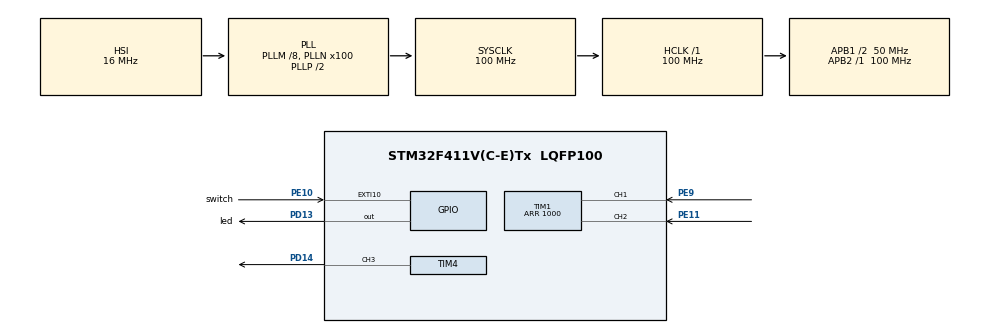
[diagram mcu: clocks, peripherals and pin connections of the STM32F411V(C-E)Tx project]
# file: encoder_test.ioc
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Dma.Request0=TIM4_CH3
Dma.TIM4_CH3.0.Direction=DMA_MEMORY_TO_PERIPH
Dma.TIM4_CH3.0.FIFOMode=DMA_FIFOMODE_DISABLE
Dma.TIM4_CH3.0.Instance=DMA1_Stream7
Dma.TIM4_CH3.0.MemDataAlignment=DMA_MDATAALIGN_HALFWORD
Dma.TIM4_CH3.0.MemInc=DMA_MINC_ENABLE
Dma.TIM4_CH3.0.Mode=DMA_CIRCULAR
Dma.TIM4_CH3.0.PeriphDataAlignment=DMA_PDATAALIGN_HALFWORD
Dma.TIM4_CH3.0.PeriphInc=DMA_PINC_DISABLE
Dma.TIM4_CH3.0.Priority=DMA_PRIORITY_LOW
Mcu.Family=STM32F4
Mcu.Name=STM32F411V(C-E)Tx
Mcu.Package=LQFP100
NVIC.DMA1_Stream7_IRQn=true\:0\:0\:false\:false\:true
NVIC.EXTI15_10_IRQn=true\:0\:0\:false\:false\:true
NVIC.PriorityGroup=NVIC_PRIORITYGROUP_4
PD13.GPIO_Label=led
PD13.Signal=GPIO_Output
PD14.Signal=S_TIM4_CH3
PE10.GPIO_Label=switch
PE10.GPIO_ModeDefaultEXTI=GPIO_MODE_IT_FALLING
PE10.GPIO_PuPd=GPIO_PULLUP
PE10.Signal=GPXTI10
PE11.Signal=S_TIM1_CH2
PE9.Signal=S_TIM1_CH1
PH0\ -\ OSC_IN.Mode=HSE-External-Oscillator
PH0\ -\ OSC_IN.Signal=RCC_OSC_IN
PH1\ -\ OSC_OUT.Mode=HSE-External-Oscillator
PH1\ -\ OSC_OUT.Signal=RCC_OSC_OUT
ProjectManager.HeapSize=0x200
ProjectManager.StackSize=0x400
ProjectManager.TargetToolchain=SW4STM32
RCC.48MHZClocksFreq_Value=50000000
RCC.AHBFreq_Value=100000000
RCC.APB1CLKDivider=RCC_HCLK_DIV2
RCC.APB1Freq_Value=50000000
RCC.APB1TimFreq_Value=100000000
RCC.APB2Freq_Value=100000000
RCC.APB2TimFreq_Value=100000000
RCC.CortexFreq_Value=100000000
RCC.HCLKFreq_Value=100000000
RCC.HSE_VALUE=8000000
RCC.HSI_VALUE=16000000
RCC.LSE_VALUE=32768
RCC.PLLM=8
RCC.PLLN=100
RCC.SYSCLKFreq_VALUE=100000000
RCC.SYSCLKSource=RCC_SYSCLKSOURCE_PLLCLK
RCC.VCOOutputFreq_Value=200000000
SH.S_TIM1_CH1.0=TIM1_CH1,Encoder_Interface
SH.S_TIM1_CH2.0=TIM1_CH2,Encoder_Interface
SH.S_TIM4_CH3.0=TIM4_CH3,PWM Generation3 CH3
TIM1.EncoderMode=TIM_ENCODERMODE_TI12
TIM1.IC1Filter=15
TIM1.IC2Filter=15
TIM1.Period=1000
TIM4.Channel-PWM\ Generation3\ CH3=TIM_CHANNEL_3
TIM4.Period=99
TIM4.Prescaler=4999
VP_TIM4_VS_ClockSourceINT.Mode=Internal
board=encoder_test

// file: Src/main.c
/**
  ******************************************************************************
  * File Name          : main.c
  * Description        : Main program body
  ******************************************************************************
  ** This notice applies to any and all portions of this file
  * that are not between comment pairs USER CODE BEGIN and
  * USER CODE END. Other portions of this file, whether
  * inserted by the user or by software development tools
  * are owned by their respective copyright owners.
  *
  * COPYRIGHT(c) 2017 STMicroelectronics
  *
  * Redistribution and use in source and binary forms, with or without modification,
  * are permitted provided that the following conditions are met:
  *   1. Redistributions of source code must retain the above copyright notice,
  *      this list of conditions and the following disclaimer.
  *   2. Redistributions in binary form must reproduce the above copyright notice,
  *      this list of conditions and the following disclaimer in the documentation
  *      and/or other materials provided with the distribution.
  *   3. Neither the name of STMicroelectronics nor the names of its contributors
  *      may be used to endorse or promote products derived from this software
  *      without specific prior written permission.
  *
  * THIS SOFTWARE IS PROVIDED BY THE COPYRIGHT HOLDERS AND CONTRIBUTORS "AS IS"
  * AND ANY EXPRESS OR IMPLIED WARRANTIES, INCLUDING, BUT NOT LIMITED TO, THE
  * IMPLIED WARRANTIES OF MERCHANTABILITY AND FITNESS FOR A PARTICULAR PURPOSE ARE
  * DISCLAIMED. IN NO EVENT SHALL THE COPYRIGHT HOLDER OR CONTRIBUTORS BE LIABLE
  * FOR ANY DIRECT, INDIRECT, INCIDENTAL, SPECIAL, EXEMPLARY, OR CONSEQUENTIAL
  * DAMAGES (INCLUDING, BUT NOT LIMITED TO, PROCUREMENT OF SUBSTITUTE GOODS OR
  * SERVICES; LOSS OF USE, DATA, OR PROFITS; OR BUSINESS INTERRUPTION) HOWEVER
  * CAUSED AND ON ANY THEORY OF LIABILITY, WHETHER IN CONTRACT, STRICT LIABILITY,
  * OR TORT (INCLUDING NEGLIGENCE OR OTHERWISE) ARISING IN ANY WAY OUT OF THE USE
  * OF THIS SOFTWARE, EVEN IF ADVISED OF THE POSSIBILITY OF SUCH DAMAGE.
  *
  ******************************************************************************
  */
#include "main.h"
#include "stm32f4xx_hal.h"

TIM_HandleTypeDef htim1;
TIM_HandleTypeDef htim4;
DMA_HandleTypeDef hdma_tim4_ch3;

/* USER CODE BEGIN PV */
/* Private variables ---------------------------------------------------------*/
volatile uint16_t duty = 0; // Wypelnienie generowanego sygnalu PWM
// Zmienne do obslugi enkodera
//volatile uint16_t pulse_count; // liczba zliczonych impulsow

float kp, ki, kd;
static uint8_t cnt=0;
/* USER CODE END PV */

void SystemClock_Config(void);
static void MX_GPIO_Init(void);
static void MX_DMA_Init(void);
static void MX_TIM1_Init(void);
static void MX_TIM4_Init(void);

void HAL_TIM_MspPostInit(TIM_HandleTypeDef *htim);

/* USER CODE BEGIN PFP */
/* Private function prototypes -----------------------------------------------*/
void HAL_GPIO_EXTI_Callback(uint16_t GPIO_Pin) {
	HAL_GPIO_TogglePin(led_GPIO_Port, led_Pin);

//	static uint8_t cnt = 0;

	if (GPIO_Pin == switch_Pin) {
		cnt++;
		if (cnt > 3) cnt = 1;
		switch (cnt) {
		case 1:
			kp = (TIM1->CNT / 2);
			break;
		case 2:
			ki = 0.01 * (TIM1->CNT / 2);
			break;
		case 3:
			kd = 0.01 * (TIM1->CNT / 2);
			break;
		default:
			break;
		}

	}

}
/* USER CODE END PFP */

int main(void)
{

  /* MCU Configuration----------------------------------------------------------*/

  /* Reset of all peripherals, Initializes the Flash interface and the Systick. */
  HAL_Init();

  /* Configure the system clock */
  SystemClock_Config();

  /* Initialize all configured peripherals */
  MX_GPIO_Init();
  MX_DMA_Init();
  MX_TIM1_Init();
  MX_TIM4_Init();

  /* USER CODE BEGIN 2 */
	HAL_TIM_PWM_Start_DMA(&htim4, TIM_CHANNEL_3, (uint32_t*) &duty, 1);
	HAL_TIM_Encoder_Start(&htim1, TIM_CHANNEL_ALL);
  /* USER CODE END 2 */

  /* Infinite loop */
  /* USER CODE BEGIN WHILE */
	while (1) {
		// Ustawienie wypelnienia rownego odczytanej liczbie impulsow
		duty = (TIM1->CNT) / 2;

  /* USER CODE END WHILE */

	}

}

/** System Clock Configuration
*/
void SystemClock_Config(void)
{

  RCC_OscInitTypeDef RCC_OscInitStruct;
  RCC_ClkInitTypeDef RCC_ClkInitStruct;

    /**Configure the main internal regulator output voltage
    */
  __HAL_RCC_PWR_CLK_ENABLE();

  __HAL_PWR_VOLTAGESCALING_CONFIG(PWR_REGULATOR_VOLTAGE_SCALE1);

    /**Initializes the CPU, AHB and APB busses clocks
    */
  RCC_OscInitStruct.OscillatorType = RCC_OSCILLATORTYPE_HSI;
  RCC_OscInitStruct.HSIState = RCC_HSI_ON;
  RCC_OscInitStruct.HSICalibrationValue = 16;
  RCC_OscInitStruct.PLL.PLLState = RCC_PLL_ON;
  RCC_OscInitStruct.PLL.PLLSource = RCC_PLLSOURCE_HSI;
  RCC_OscInitStruct.PLL.PLLM = 8;
  RCC_OscInitStruct.PLL.PLLN = 100;
  RCC_OscInitStruct.PLL.PLLP = RCC_PLLP_DIV2;
  RCC_OscInitStruct.PLL.PLLQ = 4;
  if (HAL_RCC_OscConfig(&RCC_OscInitStruct) != HAL_OK)
  {
    _Error_Handler(__FILE__, __LINE__);
  }

    /**Initializes the CPU, AHB and APB busses clocks
    */
  RCC_ClkInitStruct.ClockType = RCC_CLOCKTYPE_HCLK|RCC_CLOCKTYPE_SYSCLK
                              |RCC_CLOCKTYPE_PCLK1|RCC_CLOCKTYPE_PCLK2;
  RCC_ClkInitStruct.SYSCLKSource = RCC_SYSCLKSOURCE_PLLCLK;
  RCC_ClkInitStruct.AHBCLKDivider = RCC_SYSCLK_DIV1;
  RCC_ClkInitStruct.APB1CLKDivider = RCC_HCLK_DIV2;
  RCC_ClkInitStruct.APB2CLKDivider = RCC_HCLK_DIV1;

  if (HAL_RCC_ClockConfig(&RCC_ClkInitStruct, FLASH_LATENCY_3) != HAL_OK)
  {
    _Error_Handler(__FILE__, __LINE__);
  }

    /**Configure the Systick interrupt time
    */
  HAL_SYSTICK_Config(HAL_RCC_GetHCLKFreq()/1000);

    /**Configure the Systick
    */
  HAL_SYSTICK_CLKSourceConfig(SYSTICK_CLKSOURCE_HCLK);

  /* SysTick_IRQn interrupt configuration */
  HAL_NVIC_SetPriority(SysTick_IRQn, 0, 0);
}

/* TIM1 init function */
static void MX_TIM1_Init(void)
{

  TIM_Encoder_InitTypeDef sConfig;
  TIM_MasterConfigTypeDef sMasterConfig;

  htim1.Instance = TIM1;
  htim1.Init.Prescaler = 0;
  htim1.Init.CounterMode = TIM_COUNTERMODE_UP;
  htim1.Init.Period = 1000;
  htim1.Init.ClockDivision = TIM_CLOCKDIVISION_DIV1;
  htim1.Init.RepetitionCounter = 0;
  sConfig.EncoderMode = TIM_ENCODERMODE_TI12;
  sConfig.IC1Polarity = TIM_ICPOLARITY_RISING;
  sConfig.IC1Selection = TIM_ICSELECTION_DIRECTTI;
  sConfig.IC1Prescaler = TIM_ICPSC_DIV1;
  sConfig.IC1Filter = 15;
  sConfig.IC2Polarity = TIM_ICPOLARITY_RISING;
  sConfig.IC2Selection = TIM_ICSELECTION_DIRECTTI;
  sConfig.IC2Prescaler = TIM_ICPSC_DIV1;
  sConfig.IC2Filter = 15;
  if (HAL_TIM_Encoder_Init(&htim1, &sConfig) != HAL_OK)
  {
    _Error_Handler(__FILE__, __LINE__);
  }

  sMasterConfig.MasterOutputTrigger = TIM_TRGO_RESET;
  sMasterConfig.MasterSlaveMode = TIM_MASTERSLAVEMODE_DISABLE;
  if (HAL_TIMEx_MasterConfigSynchronization(&htim1, &sMasterConfig) != HAL_OK)
  {
    _Error_Handler(__FILE__, __LINE__);
  }

}

/* TIM4 init function */
static void MX_TIM4_Init(void)
{

  TIM_ClockConfigTypeDef sClockSourceConfig;
  TIM_MasterConfigTypeDef sMasterConfig;
  TIM_OC_InitTypeDef sConfigOC;

  htim4.Instance = TIM4;
  htim4.Init.Prescaler = 4999;
  htim4.Init.CounterMode = TIM_COUNTERMODE_UP;
  htim4.Init.Period = 99;
  htim4.Init.ClockDivision = TIM_CLOCKDIVISION_DIV1;
  if (HAL_TIM_Base_Init(&htim4) != HAL_OK)
  {
    _Error_Handler(__FILE__, __LINE__);
  }

  sClockSourceConfig.ClockSource = TIM_CLOCKSOURCE_INTERNAL;
  if (HAL_TIM_ConfigClockSource(&htim4, &sClockSourceConfig) != HAL_OK)
  {
    _Error_Handler(__FILE__, __LINE__);
  }

  if (HAL_TIM_PWM_Init(&htim4) != HAL_OK)
  {
    _Error_Handler(__FILE__, __LINE__);
  }

  sMasterConfig.MasterOutputTrigger = TIM_TRGO_RESET;
  sMasterConfig.MasterSlaveMode = TIM_MASTERSLAVEMODE_DISABLE;
  if (HAL_TIMEx_MasterConfigSynchronization(&htim4, &sMasterConfig) != HAL_OK)
  {
    _Error_Handler(__FILE__, __LINE__);
  }

  sConfigOC.OCMode = TIM_OCMODE_PWM1;
  sConfigOC.Pulse = 0;
  sConfigOC.OCPolarity = TIM_OCPOLARITY_HIGH;
  sConfigOC.OCFastMode = TIM_OCFAST_DISABLE;
  if (HAL_TIM_PWM_ConfigChannel(&htim4, &sConfigOC, TIM_CHANNEL_3) != HAL_OK)
  {
    _Error_Handler(__FILE__, __LINE__);
  }

  HAL_TIM_MspPostInit(&htim4);

}

static void MX_DMA_Init(void)
{
  /* DMA controller clock enable */
  __HAL_RCC_DMA1_CLK_ENABLE();

  /* DMA interrupt init */
  /* DMA1_Stream7_IRQn interrupt configuration */
  HAL_NVIC_SetPriority(DMA1_Stream7_IRQn, 0, 0);
  HAL_NVIC_EnableIRQ(DMA1_Stream7_IRQn);

}

/** Configure pins as
        * Analog
        * Input
        * Output
        * EVENT_OUT
        * EXTI
*/
static void MX_GPIO_Init(void)
{

  GPIO_InitTypeDef GPIO_InitStruct;

  /* GPIO Ports Clock Enable */
  __HAL_RCC_GPIOH_CLK_ENABLE();
  __HAL_RCC_GPIOE_CLK_ENABLE();
  __HAL_RCC_GPIOD_CLK_ENABLE();

  /*Configure GPIO pin Output Level */
  HAL_GPIO_WritePin(led_GPIO_Port, led_Pin, GPIO_PIN_RESET);

  /*Configure GPIO pin : switch_Pin */
  GPIO_InitStruct.Pin = switch_Pin;
  GPIO_InitStruct.Mode = GPIO_MODE_IT_FALLING;
  GPIO_InitStruct.Pull = GPIO_PULLUP;
  HAL_GPIO_Init(switch_GPIO_Port, &GPIO_InitStruct);

  /*Configure GPIO pin : led_Pin */
  GPIO_InitStruct.Pin = led_Pin;
  GPIO_InitStruct.Mode = GPIO_MODE_OUTPUT_PP;
  GPIO_InitStruct.Pull = GPIO_NOPULL;
  GPIO_InitStruct.Speed = GPIO_SPEED_FREQ_LOW;
  HAL_GPIO_Init(led_GPIO_Port, &GPIO_InitStruct);

  /* EXTI interrupt init*/
  HAL_NVIC_SetPriority(EXTI15_10_IRQn, 0, 0);
  HAL_NVIC_EnableIRQ(EXTI15_10_IRQn);

}

void _Error_Handler(char * file, int line)
{
	while (1) {
	}
}

/************************ (C) COPYRIGHT STMicroelectronics *****END OF FILE****/
